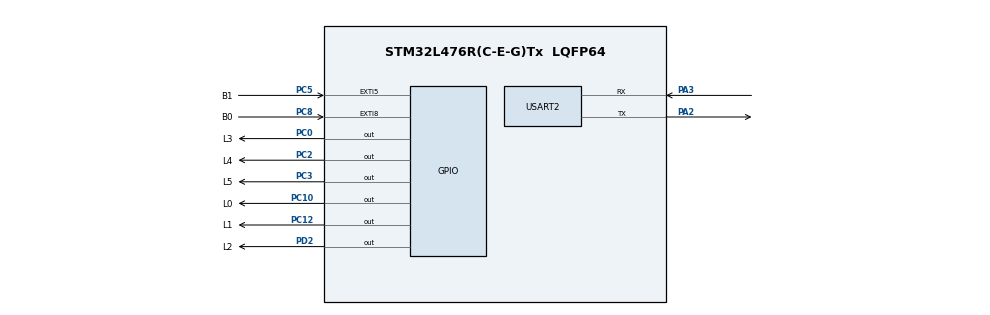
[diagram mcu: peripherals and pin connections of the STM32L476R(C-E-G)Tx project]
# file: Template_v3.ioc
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Mcu.Family=STM32L4
Mcu.Name=STM32L476R(C-E-G)Tx
Mcu.Package=LQFP64
NVIC.EXTI9_5_IRQn=true\:1\:0\:true\:false\:true\:true\:true\:true
NVIC.PriorityGroup=NVIC_PRIORITYGROUP_4
NVIC.USART2_IRQn=true\:1\:0\:true\:false\:true\:true\:true\:true
PA13\ (JTMS-SWDIO).Mode=Serial_Wire
PA13\ (JTMS-SWDIO).Signal=SYS_JTMS-SWDIO
PA14\ (JTCK-SWCLK).Mode=Serial_Wire
PA14\ (JTCK-SWCLK).Signal=SYS_JTCK-SWCLK
PA2.Mode=Asynchronous
PA2.Signal=USART2_TX
PA3.Mode=Asynchronous
PA3.Signal=USART2_RX
PC0.GPIO_Label=L3
PC0.Signal=GPIO_Output
PC10.GPIO_Label=L0
PC10.Signal=GPIO_Output
PC12.GPIO_Label=L1
PC12.Signal=GPIO_Output
PC14-OSC32_IN\ (PC14).Mode=LSE-External-Oscillator
PC14-OSC32_IN\ (PC14).Signal=RCC_OSC32_IN
PC15-OSC32_OUT\ (PC15).Mode=LSE-External-Oscillator
PC15-OSC32_OUT\ (PC15).Signal=RCC_OSC32_OUT
PC2.GPIO_Label=L4
PC2.Signal=GPIO_Output
PC3.GPIO_Label=L5
PC3.Signal=GPIO_Output
PC5.GPIO_Label=B1
PC5.GPIO_PuPd=GPIO_PULLDOWN
PC5.Signal=GPXTI5
PC8.GPIO_Label=B0
PC8.GPIO_ModeDefaultEXTI=GPIO_MODE_IT_FALLING
PC8.GPIO_PuPd=GPIO_PULLUP
PC8.Signal=GPXTI8
PD2.GPIO_Label=L2
PD2.Signal=GPIO_Output
ProjectManager.HeapSize=0x200
ProjectManager.StackSize=0x400
ProjectManager.TargetToolchain=STM32CubeIDE
RCC.HSE_VALUE=8000000
RCC.HSI_VALUE=16000000
RCC.MSI_VALUE=4000000
RCC.VCOOutputFreq_Value=32000000
USART2.VirtualMode-Asynchronous=VM_ASYNC
board=custom

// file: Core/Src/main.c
/* USER CODE BEGIN Header */
/**
  ******************************************************************************
  * @file           : main.c
  * @brief          : Main program body
  ******************************************************************************
  * @attention
  *
  * Copyright (c) 2023 STMicroelectronics.
  * All rights reserved.
  *
  * This software is licensed under terms that can be found in the LICENSE file
  * in the root directory of this software component.
  * If no LICENSE file comes with this software, it is provided AS-IS.
  *
  ******************************************************************************
  */
/* USER CODE END Header */
#include "main.h"
#include "usart.h"
#include "gpio.h"

/* USER CODE BEGIN Includes */
#include <string.h>
/* USER CODE END Includes */

void SystemClock_Config(void);

int main(void)
{

  /* MCU Configuration--------------------------------------------------------*/

  /* Reset of all peripherals, Initializes the Flash interface and the Systick. */
  HAL_Init();

  /* Configure the system clock */
  SystemClock_Config();

  /* Initialize all configured peripherals */
  MX_GPIO_Init();
  MX_USART2_UART_Init();
  /* USER CODE BEGIN 2 */

  /// uart 2
  uart_InstanceInit(&uart_instance2);
  HAL_UART_Receive_IT(&huart2, &(uart_instance2.rxReceptionByte), 1);
  HAL_UART_Transmit_IT(&huart2, (unsigned char*)"Hello World!\r\n", strlen("Hello World!\r\n"));

  /// gpio
  gpio_DigOutSetAll(diodesTable, NO_OF_DIODES);
  HAL_Delay(200);
  gpio_DigOutResetAll(diodesTable, NO_OF_DIODES);
  HAL_Delay(120);
  gpio_DigOutSetAll(diodesTable, NO_OF_DIODES);
  HAL_Delay(200);
  gpio_DigOutResetAll(diodesTable, NO_OF_DIODES);
  HAL_Delay(120);
  gpio_DigOutSetAll(diodesTable, NO_OF_DIODES);
  HAL_Delay(200);
  gpio_DigOutResetAll(diodesTable, NO_OF_DIODES);
  HAL_Delay(120);
  gpio_DigOutSet(gpio_GetDiodeMark(), diodesTable);
  /* USER CODE END 2 */

  /* Infinite loop */
  /* USER CODE BEGIN WHILE */
  while (1)
  {
	if(gpio_GetDiodeMarkChange() == 1)
	{
		gpio_DigOutResetAll(diodesTable, NO_OF_DIODES);
		gpio_DigOutSet(gpio_GetDiodeMark(), diodesTable);
		gpio_SetDiodeMarkChange(0);
	}
    /* USER CODE END WHILE */

  }
}

void SystemClock_Config(void)
{
  RCC_OscInitTypeDef RCC_OscInitStruct = {0};
  RCC_ClkInitTypeDef RCC_ClkInitStruct = {0};

  /** Configure the main internal regulator output voltage
  */
  if (HAL_PWREx_ControlVoltageScaling(PWR_REGULATOR_VOLTAGE_SCALE1) != HAL_OK)
  {
    Error_Handler();
  }

  /** Configure LSE Drive Capability
  */
  HAL_PWR_EnableBkUpAccess();
  __HAL_RCC_LSEDRIVE_CONFIG(RCC_LSEDRIVE_LOW);

  /** Initializes the RCC Oscillators according to the specified parameters
  * in the RCC_OscInitTypeDef structure.
  */
  RCC_OscInitStruct.OscillatorType = RCC_OSCILLATORTYPE_LSE|RCC_OSCILLATORTYPE_MSI;
  RCC_OscInitStruct.LSEState = RCC_LSE_ON;
  RCC_OscInitStruct.MSIState = RCC_MSI_ON;
  RCC_OscInitStruct.MSICalibrationValue = 0;
  RCC_OscInitStruct.MSIClockRange = RCC_MSIRANGE_6;
  RCC_OscInitStruct.PLL.PLLState = RCC_PLL_NONE;
  if (HAL_RCC_OscConfig(&RCC_OscInitStruct) != HAL_OK)
  {
    Error_Handler();
  }

  /** Initializes the CPU, AHB and APB buses clocks
  */
  RCC_ClkInitStruct.ClockType = RCC_CLOCKTYPE_HCLK|RCC_CLOCKTYPE_SYSCLK
                              |RCC_CLOCKTYPE_PCLK1|RCC_CLOCKTYPE_PCLK2;
  RCC_ClkInitStruct.SYSCLKSource = RCC_SYSCLKSOURCE_MSI;
  RCC_ClkInitStruct.AHBCLKDivider = RCC_SYSCLK_DIV1;
  RCC_ClkInitStruct.APB1CLKDivider = RCC_HCLK_DIV1;
  RCC_ClkInitStruct.APB2CLKDivider = RCC_HCLK_DIV1;

  if (HAL_RCC_ClockConfig(&RCC_ClkInitStruct, FLASH_LATENCY_0) != HAL_OK)
  {
    Error_Handler();
  }

  /** Enable MSI Auto calibration
  */
  HAL_RCCEx_EnableMSIPLLMode();
}

void Error_Handler(void)
{
  __disable_irq();
  while (1)
  {
  }
}
